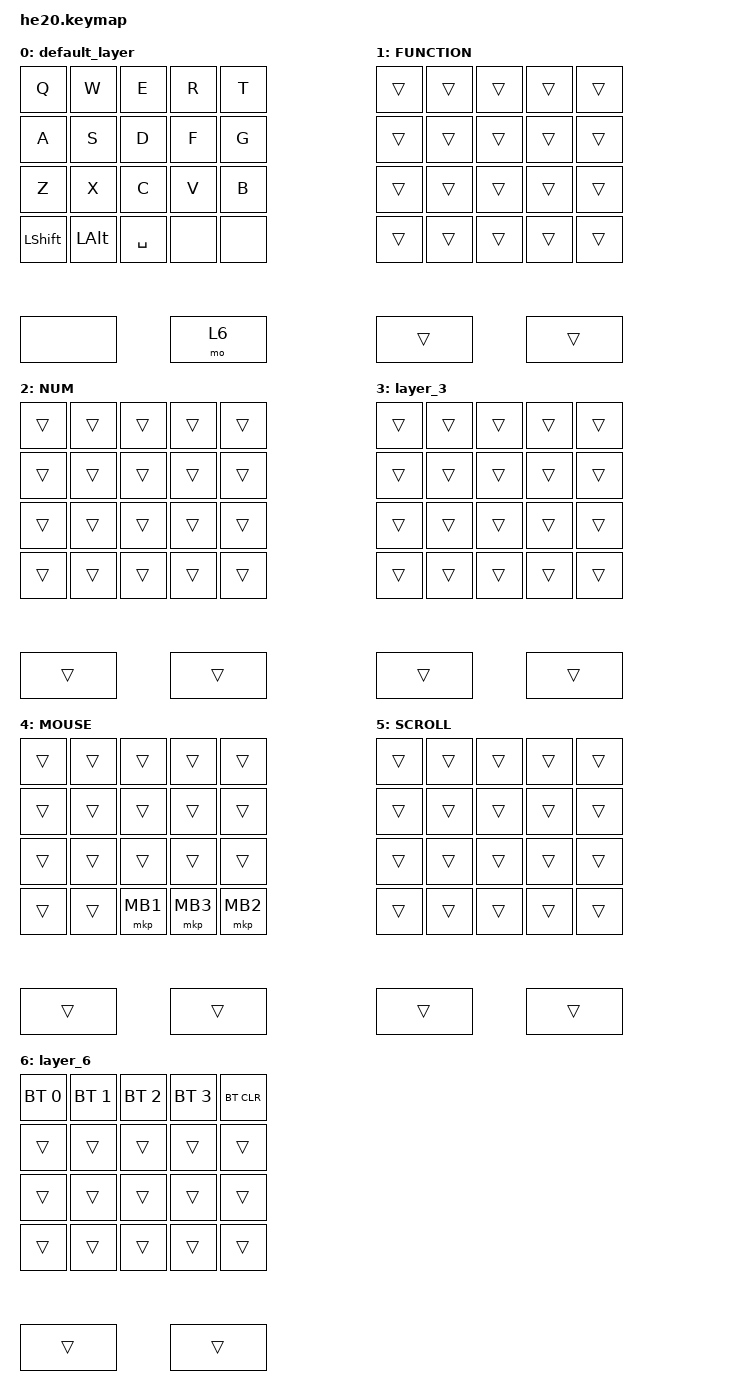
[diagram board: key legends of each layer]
#include <behaviors.dtsi>
#include <dt-bindings/zmk/bt.h>
#include <dt-bindings/zmk/keys.h>
#include <dt-bindings/zmk/pointing.h>

/ {
    keymap {
        compatible = "zmk,keymap";

        default_layer {
            bindings = <
                // Row 0: HE1     HE2     HE3      HE4       HE5
                   &kp Q   &kp W   &kp E    &kp R     &kp T
                // Row 1: HE6     HE7     HE8      HE9       HE10
                   &kp A   &kp S   &kp D    &kp F     &kp G
                // Row 2: HE11    HE12    HE13     HE14      HE15
                   &kp Z   &kp X   &kp C    &kp V     &kp B
                // Row 3: HE16    HE17    HE18     HE19      HE20
                   &kp LSHIFT &kp LALT &kp SPACE &none  &none
                // Row 4: HE21(2U)         HE22(2U)
                   &none                   &mo 6
            >;
        };

        FUNCTION {
            bindings = <
                &trans  &trans  &trans  &trans  &trans
                &trans  &trans  &trans  &trans  &trans
                &trans  &trans  &trans  &trans  &trans
                &trans  &trans  &trans  &trans  &trans
                &trans  &trans
            >;
        };

        NUM {
            bindings = <
                &trans  &trans  &trans  &trans  &trans
                &trans  &trans  &trans  &trans  &trans
                &trans  &trans  &trans  &trans  &trans
                &trans  &trans  &trans  &trans  &trans
                &trans  &trans
            >;
        };

        layer_3 {
            bindings = <
                &trans  &trans  &trans  &trans  &trans
                &trans  &trans  &trans  &trans  &trans
                &trans  &trans  &trans  &trans  &trans
                &trans  &trans  &trans  &trans  &trans
                &trans  &trans
            >;
        };

        MOUSE {
            bindings = <
                &trans    &trans    &trans    &trans    &trans
                &trans    &trans    &trans    &trans    &trans
                &trans    &trans    &trans    &trans    &trans
                &trans    &trans    &mkp MB1  &mkp MB3  &mkp MB2
                &trans    &trans
            >;
        };

        SCROLL {
            bindings = <
                &trans  &trans  &trans  &trans  &trans
                &trans  &trans  &trans  &trans  &trans
                &trans  &trans  &trans  &trans  &trans
                &trans  &trans  &trans  &trans  &trans
                &trans  &trans
            >;
        };

        layer_6 {
            bindings = <
                &bt BT_SEL 0  &bt BT_SEL 1  &bt BT_SEL 2  &bt BT_SEL 3  &bt BT_CLR
                &trans  &trans  &trans  &trans  &trans
                &trans  &trans  &trans  &trans  &trans
                &trans  &trans  &trans  &trans  &trans
                &trans  &trans
            >;
        };
    };
};
